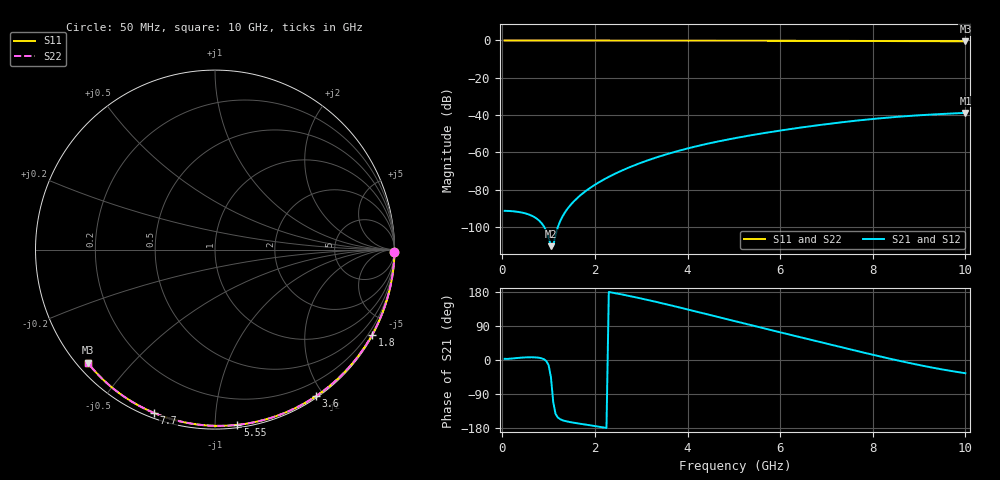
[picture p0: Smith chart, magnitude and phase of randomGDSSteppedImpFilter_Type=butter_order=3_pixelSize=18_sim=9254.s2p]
! freq	dB(S11)	phase(S11)	dB(S12)	phase(S12)
!  dB(S21)	phase(S21)	dB(S22)	phase(S22)
!S-par simulation data
#  GHz  S  DB  R 50
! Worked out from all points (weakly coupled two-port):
!   200 points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, 50 MHz to 10 GHz, reference 50 ohm
!   highest |S21| = -38.82 dB at 10 GHz (marker M1); lowest = -110.3 dB at 1.05 GHz (marker M2)
!   lowest |S11| = -0.5 dB at 10 GHz (marker M3), VSWR 38.19, Z = 1.5 - j19 ohm
!   |S11| at or under -10 dB: nowhere
!   |S22| runs from -0.5 to 0.0 dB; largest |S21 - S12| = 0
!   S11 on the Smith chart (normalised r, x): 50 MHz: open; 1.8 GHz: 0.03, -3.95; 3.6 GHz: 0.02, -1.90; 5.55 GHz: 0.02, -1.13; 7.7 GHz: 0.02, -0.69; 10 GHz: 0.03, -0.38
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0.05  -0.00 -0.8  -91.30 3.1  -91.30 3.1  -0.00 -0.8
0.55  -0.01 -8.8  -93.09 7.2  -93.09 7.2  -0.01 -8.8
1.05  -0.02 -16.7  -110.25 -45.2  -110.25 -45.2  -0.02 -16.7
1.75  -0.04 -27.6  -81.69 -169.4  -81.69 -169.4  -0.04 -27.6
1.8  -0.04 -28.4  -80.74 -170.3  -80.74 -170.3  -0.04 -28.4
1.85  -0.04 -29.2  -79.83 -171.3  -79.83 -171.3  -0.04 -29.2
2.15  -0.04 -33.8  -75.11 -177.2  -75.11 -177.2  -0.04 -33.8
2.35  -0.05 -36.8  -72.45 178.4  -72.45 178.4  -0.05 -36.8
2.55  -0.05 -39.9  -70.08 173.8  -70.08 173.8  -0.05 -39.9
2.95  -0.06 -45.9  -65.97 163.6  -65.97 163.6  -0.06 -45.9
3.4  -0.07 -52.6  -62.11 151.2  -62.11 151.2  -0.07 -52.6
3.6  -0.07 -55.5  -60.60 145.4  -60.60 145.4  -0.07 -55.5
3.9  -0.08 -59.8  -58.53 136.5  -58.53 136.5  -0.08 -59.8
4.3  -0.09 -65.5  -56.08 124.4  -56.08 124.4  -0.09 -65.5
5.05  -0.12 -76.0  -52.24 101.6  -52.24 101.6  -0.12 -76.0
5.55  -0.14 -82.8  -50.06 86.5  -50.06 86.5  -0.14 -82.8
6.1  -0.16 -90.1  -47.92 70.1  -47.92 70.1  -0.16 -90.1
6.7  -0.19 -97.9  -45.82 52.2  -45.82 52.2  -0.19 -97.9
7.7  -0.25 -110.5  -42.84 22.6  -42.84 22.6  -0.25 -110.5
8.35  -0.30 -118.5  -41.30 3.9  -41.30 3.9  -0.30 -118.5
9.15  -0.37 -128.2  -39.87 -16.9  -39.87 -16.9  -0.37 -128.2
10  -0.46 -138.4  -38.82 -34.9  -38.82 -34.9  -0.46 -138.4
